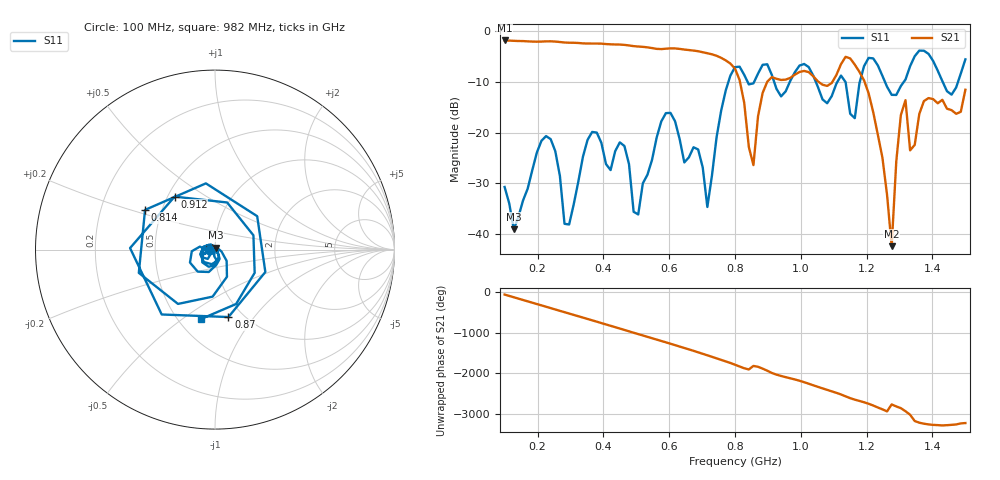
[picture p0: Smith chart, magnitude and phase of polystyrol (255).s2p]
! NanoVNA-App
! Date: 2025-09-25 15:31:52
! Start: 100MHz Stop: 1,5GHz Points: 101
! S-Parameter data: F S11 S21 S12 S22
# Hz S RI R 50
!  Frequency  S11_Real  S11_Imag  S21_Real  S21_Imag  S12_Real  S12_Imag  S22_Real  S22_Imag
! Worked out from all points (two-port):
!   101 points, 100 MHz to 1.5 GHz, reference 50 ohm
!   highest |S21| = -1.80 dB at 100 MHz (marker M1); lowest = -42.4 dB at 1.276 GHz (marker M2)
!   |S21| within 3 dB of the highest: start of sweep to 743.1 MHz
!   lowest |S11| = -39.1 dB at 128 MHz (marker M3), VSWR 1.02, Z = 50.3 + j1.07 ohm
!   |S11| at or under -10 dB: start of sweep to 779.8 MHz; 1.046 GHz to 1.111 GHz (65.08 MHz wide, 6.04 % of centre); 1.136 GHz to 1.179 GHz (43.21 MHz wide, 3.73 % of centre) (the widest 3 of 7)
!   S12 and S22 are empty: the file has one direction only
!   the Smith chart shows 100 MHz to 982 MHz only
!   S11 on the Smith chart (normalised r, x): 100 MHz: 0.94, -0.01; 814 MHz: 0.40, +0.22; 870 MHz: 0.86, -0.75; 912 MHz: 0.54, +0.37; 982 MHz: 0.64, -0.59
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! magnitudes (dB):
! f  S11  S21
! 100 MHz  -30.7  -1.8
! 128 MHz  -39.1  -1.9
! 212 MHz  -21.6  -2.0
! 282 MHz  -38.0  -2.2
! 338 MHz  -24.7  -2.4
! 464 MHz  -22.6  -2.7
! 506 MHz  -36.1  -3.0
! 576 MHz  -17.8  -3.5
! 716 MHz  -34.6  -4.3
! 800 MHz  -7.1  -7.3
! 814 MHz  -7.0  -9.6
! 856 MHz  -10.3  -26.4
! 870 MHz  -8.3  -16.7
! 912 MHz  -8.6  -9.0
! 982 MHz  -8.1  -8.5
! 1.038 GHz  -8.8  -8.9
! 1.164 GHz  -17.1  -6.6
! 1.192 GHz  -6.9  -9.7
! 1.276 GHz  -12.5  -42.4
! 1.318 GHz  -9.5  -13.6
! 1.332 GHz  -6.9  -23.5
! 1.5 GHz  -5.5  -11.5
